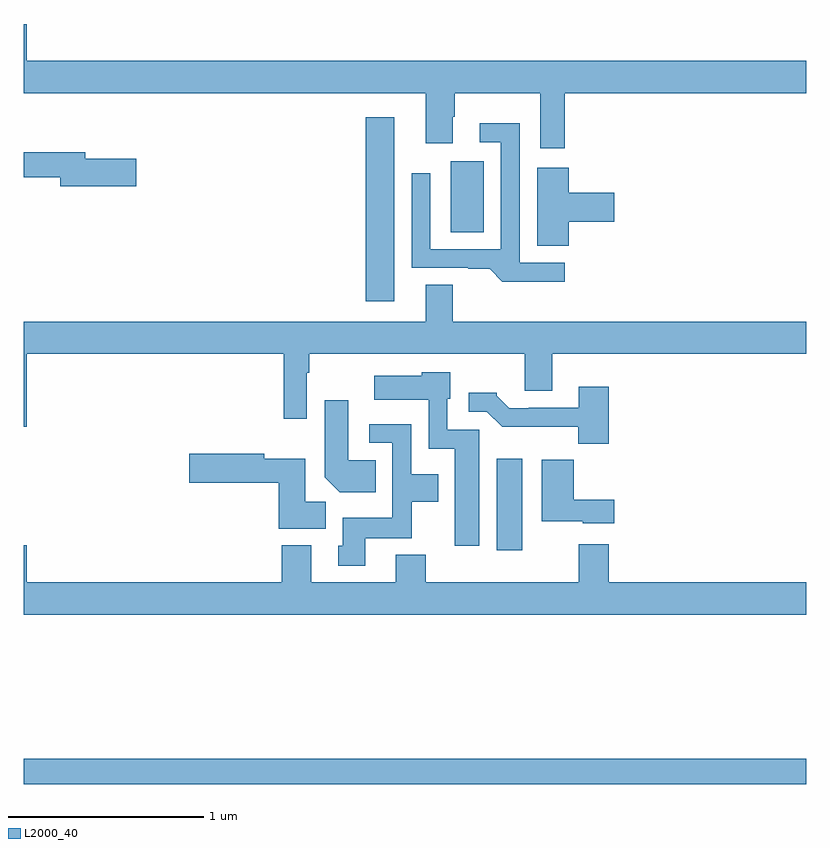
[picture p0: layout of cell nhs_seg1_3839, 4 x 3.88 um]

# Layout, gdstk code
import gdstk
lib = gdstk.Library(unit=1e-6, precision=1e-09)
def R(c, l, rs):  # rectangles x0, y0, x1, y1
    for r in rs: c.add(gdstk.rectangle(r[:2], r[2:], *l))
def P(c, l, *ps):  # polygons
    for p in ps: c.add(gdstk.Polygon(p, *l))
L2000_40 = (2000, 40)

nhs_seg1_3839 = lib.new_cell('nhs_seg1_3839')
R(nhs_seg1_3839, L2000_40, [(321,520.23,325,520.358), (323.417,521.424,323.548,521.893), (322.748,522.696,322.894,523.636), (323.183,523.048,323.35,523.411)])
P(nhs_seg1_3839, L2000_40, [(323.765,523.76),(325,523.76),(325,523.924),(321.016,523.924),(321.016,524.113),(321,524.113),(321,523.76),(323.054,523.76),(323.054,523.503),(323.194,523.503),(323.194,523.64),(323.202,523.64),(323.202,523.76),(323.639,523.76),(323.639,523.479),(323.765,523.479)],
  [(323.764,522.894),(323.535,522.894),(323.535,523.606),(323.331,523.606),(323.331,523.509),(323.439,523.509),(323.439,522.963),(323.079,522.963),(323.079,523.351),(322.983,523.351),(322.983,522.867),(323.273,522.867),(323.273,522.862),(323.381,522.862),(323.447,522.797),(323.764,522.797)],
  [(321.577,523.425),(321.316,523.425),(321.316,523.459),(321,523.459),(321,523.33),(321.188,523.33),(321.188,523.283),(321.577,523.283)],
  [(323.786,523.103),(324.019,523.103),(324.019,523.25),(323.786,523.25),(323.786,523.378),(323.624,523.378),(323.624,522.979),(323.786,522.979)],
  [(321.016,522.428),(322.33,522.428),(322.33,522.096),(322.446,522.096),(322.446,522.332),(322.459,522.332),(322.459,522.428),(323.561,522.428),(323.561,522.238),(323.701,522.238),(323.701,522.428),(325,522.428),(325,522.592),(323.194,522.592),(323.194,522.782),(323.054,522.782),(323.054,522.592),(321,522.592),(321,522.054),(321.016,522.054)],
  [(323.329,522.039),(323.166,522.039),(323.166,522.198),(323.179,522.198),(323.179,522.334),(323.034,522.334),(323.034,522.316),(322.791,522.316),(322.791,522.194),(323.07,522.194),(323.07,521.942),(323.204,521.942),(323.204,521.448),(323.329,521.448)],
  [(323.99,522.259),(323.837,522.259),(323.837,522.153),(323.581,522.153),(323.581,522.15),(323.482,522.15),(323.418,522.214),(323.418,522.229),(323.274,522.229),(323.274,522.132),(323.367,522.132),(323.446,522.054),(323.835,522.054),(323.835,521.969),(323.99,521.969)],
  [(322.799,521.884),(322.66,521.884),(322.66,522.19),(322.538,522.19),(322.538,521.798),(322.616,521.72),(322.799,521.72)],
  [(322.747,521.486),(322.983,521.486),(322.983,521.672),(323.119,521.672),(323.119,521.812),(322.98,521.812),(322.98,522.069),(322.767,522.069),(322.767,521.973),(322.884,521.973),(322.884,521.59),(322.631,521.59),(322.631,521.448),(322.607,521.448),(322.607,521.346),(322.747,521.346)],
  [(322.543,521.672),(322.438,521.672),(322.438,521.893),(322.23,521.893),(322.23,521.918),(321.846,521.918),(321.846,521.77),(322.304,521.77),(322.304,521.534),(322.543,521.534)],
  [(324.019,521.683),(323.81,521.683),(323.81,521.887),(323.648,521.887),(323.648,521.573),(323.856,521.573),(323.856,521.561),(324.019,521.561)],
  [(325,521.26),(323.99,521.26),(323.99,521.455),(323.837,521.455),(323.837,521.26),(323.054,521.26),(323.054,521.401),(322.901,521.401),(322.901,521.26),(322.471,521.26),(322.471,521.449),(322.319,521.449),(322.319,521.26),(321.016,521.26),(321.016,521.449),(321,521.449),(321,521.096),(325,521.096)])

lib.write_gds('nhs_seg1_3839.gds')
